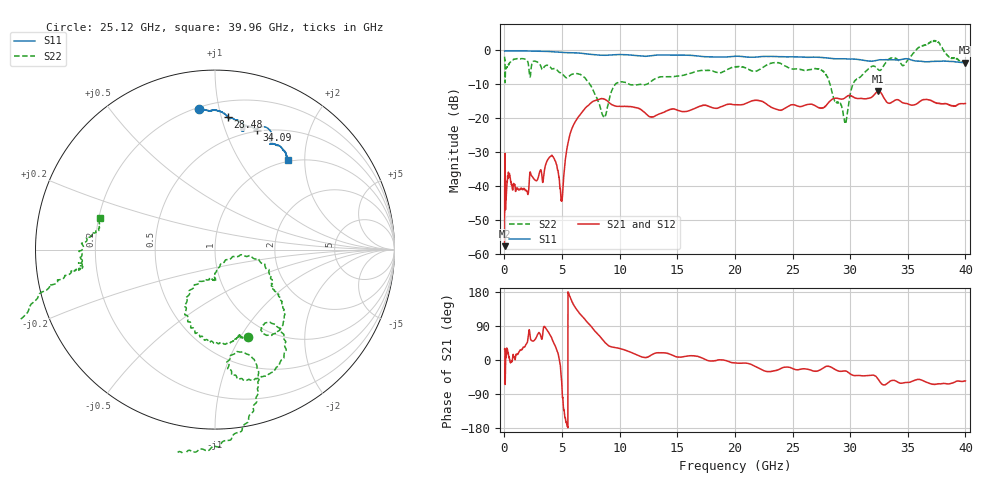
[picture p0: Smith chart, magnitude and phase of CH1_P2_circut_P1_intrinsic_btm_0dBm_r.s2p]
!Keysight Technologies,N5222B,MY61257109,A.17.25.03
!Date: Wednesday, July 22, 2026 17:18:58
!Correction: S11(C  2-Port  )
!S21(C  2-Port  )
!S12(C  2-Port  )
!S22(C  2-Port  )
!S2P File: Measurements: S11, S21, S12, S22:
# Hz S  dB  R 50
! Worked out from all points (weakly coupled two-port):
!   4000 points, 10 MHz to 40 GHz, reference 50 ohm
!   highest |S21| = -12.12 dB at 32.42 GHz (marker M1); lowest = -57.6 dB at 10 MHz (marker M2)
!   lowest |S11| = -3.8 dB at 39.98 GHz (marker M3), VSWR 4.62, Z = 48.7 + j83.1 ohm
!   |S11| at or under -10 dB: nowhere
!   |S22| runs from -21.7 to 2.7 dB; largest |S21 - S12| = 0.0041
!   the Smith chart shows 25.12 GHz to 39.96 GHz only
!   S11 on the Smith chart (normalised r, x): 25.12 GHz: 0.21, +0.87; 28.48 GHz: 0.32, +1.05; 34.09 GHz: 0.48, +1.29; 39.96 GHz: 0.97, +1.66
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1e7  -0.39 179.6  -57.63 29.4  -57.07 31.2  -2.05 -46.3
5.9e8  -0.34 177.3  -39.35 -5.8  -39.35 -5.9  -3.30 166.2
1.73e9  -0.37 172.3  -40.79 34.1  -40.79 34.2  -2.72 101.6
4.07e9  -0.56 161.8  -31.16 60.3  -31.14 60.2  -5.54 34.0
4.96e9  -0.77 157.8  -43.89 -54.9  -44.88 -66.5  -6.97 17.9
6.68e9  -1.05 151.1  -18.55 117.2  -18.52 117.4  -7.45 -5.8
8.63e9  -1.66 146.8  -14.42 49.4  -14.48 49.3  -19.60 9.6
1.334e10  -1.57 134.3  -18.97 18.9  -18.96 19.0  -8.16 8.5
2.001e10  -1.94 113.2  -16.16 -7.7  -16.15 -6.7  -5.00 -29.0
2.512e10  -2.07 96.4  -16.16 -24.0  -16.15 -23.6  -5.69 -69.1
2.667e10  -2.22 91.3  -16.01 -27.5  -16.01 -27.9  -5.75 -78.2
2.848e10  -2.61 84.3  -14.47 -21.4  -14.46 -21.1  -13.08 -118.6
2.959e10  -2.71 81.6  -14.05 -28.7  -14.05 -29.3  -21.20 -54.0
3.242e10  -3.01 77.3  -12.12 -50.1  -12.17 -50.0  -5.79 -60.1
3.334e10  -2.94 73.1  -15.70 -59.0  -15.70 -59.1  -2.85 -59.4
3.409e10  -3.00 70.9  -14.66 -57.4  -14.66 -57.3  -2.81 -80.3
3.56e10  -3.29 63.0  -16.16 -53.7  -16.14 -53.3  -0.58 -77.6
3.695e10  -3.49 62.0  -14.84 -62.2  -14.81 -62.1  2.19 -116.8
3.771e10  -3.40 59.7  -15.76 -62.8  -15.75 -62.8  1.89 -152.5
3.996e10  -3.81 50.9  -15.82 -55.0  -15.79 -55.3  -3.55 164.7
3.998e10  -3.82 50.8  -15.80 -55.0  -15.79 -55.1  -3.56 164.3
4e10  -3.79 50.7  -15.78 -55.3  -15.80 -54.7  -3.51 163.3
